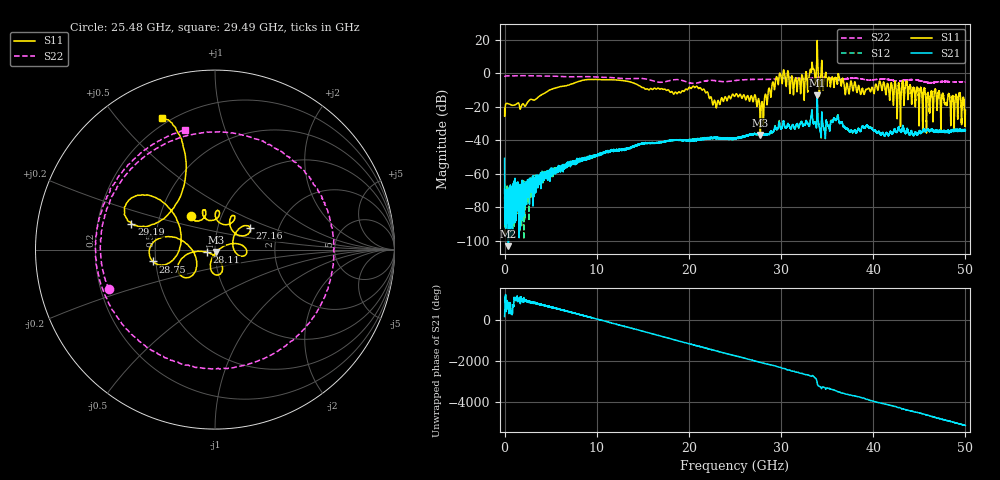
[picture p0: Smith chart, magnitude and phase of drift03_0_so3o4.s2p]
!Created with skrf (http://scikit-rf.org).
# Hz S RI R 50.0
!freq ReS11 ImS11 ReS21 ImS21 ReS12 ImS12 ReS22 ImS22
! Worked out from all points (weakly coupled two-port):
!   10001 points, 300 kHz to 50 GHz, reference 50 ohm
!   highest |S21| = -13.16 dB at 33.92 GHz (marker M1); lowest = -103.1 dB at 410.3 MHz (marker M2)
!   lowest |S11| = -36.7 dB at 27.76 GHz (marker M3), VSWR 1.03, Z = 50.7 - j1.32 ohm
!   |S11| at or under -10 dB: start of sweep to 4.85 GHz; 21.69 GHz to 28.62 GHz (6.934 GHz wide, 27.6 % of centre); 46.77 GHz to end of sweep (the widest 3 of 39)
!   |S22| runs from -6.0 to -1.3 dB; largest |S21 - S12| = 0.026
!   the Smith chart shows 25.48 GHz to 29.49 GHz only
!   S11 on the Smith chart (normalised r, x): 25.48 GHz: 0.72, +0.28; 27.16 GHz: 1.43, +0.37; 28.11 GHz: 0.91, -0.03; 28.75 GHz: 0.48, -0.07; 29.19 GHz: 0.35, +0.13; 29.49 GHz: 0.17, +0.66
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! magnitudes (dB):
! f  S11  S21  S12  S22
! 300 kHz  -21.5  -50.8  -68.6  -2.1
! 410.3 MHz  -18.2  -103.1  -69.4  -1.4
! 8.335 GHz  -4.3  -52.0  -52.1  -1.9
! 16.67 GHz  -8.8  -41.6  -41.5  -5.2
! 21.01 GHz  -8.8  -39.6  -39.6  -5.6
! 22.81 GHz  -16.1  -38.7  -38.3  -4.3
! 25 GHz  -13.4  -38.4  -38.8  -4.3
! 25.48 GHz  -12.8  -38.4  -38.2  -4.0
! 27.16 GHz  -12.8  -36.0  -36.0  -3.6
! 27.76 GHz  -36.7  -36.5  -36.4  -3.5
! 28.11 GHz  -26.6  -36.3  -36.3  -3.5
! 28.75 GHz  -9.0  -36.0  -36.1  -3.5
! 29.19 GHz  -6.2  -34.7  -34.3  -3.4
! 29.49 GHz  -2.1  -33.4  -33.4  -3.3
! 32.32 GHz  -1.4  -30.5  -30.9  -3.3
! 33.34 GHz  5.4  -22.0  -22.1  -3.0
! 33.92 GHz  19.7  -13.2  -13.7  -2.4
! 34.81 GHz  -0.6  -38.8  -35.0  -2.3
! 36 GHz  -3.8  -28.0  -27.4  -3.6
! 37.17 GHz  -5.9  -33.3  -33.1  -3.0
! 41.67 GHz  -9.0  -37.0  -36.8  -3.8
! 50 GHz  -22.0  -34.0  -34.2  -5.0
